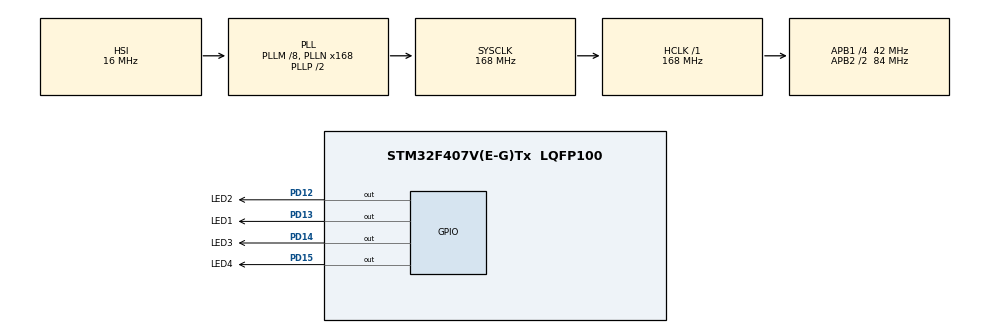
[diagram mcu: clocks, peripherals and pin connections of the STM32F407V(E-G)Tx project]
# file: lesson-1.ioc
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FREERTOS.INCLUDE_eTaskGetState=1
FREERTOS.Mutexes01=mutex01,Dynamic,NULL
FREERTOS.Tasks01=defaultTask,-3,128,StartDefaultTask,Default,NULL,Dynamic,NULL,NULL;Led01Task,2,128,vLed01Task,Default,NULL,Dynamic,NULL,NULL;Led02Task,0,128,vLed02Task,Default,NULL,Dynamic,NULL,NULL;Led03Task,-2,128,vLed03Task,Default,NULL,Dynamic,NULL,NULL
Mcu.Family=STM32F4
Mcu.Name=STM32F407V(E-G)Tx
Mcu.Package=LQFP100
NVIC.PriorityGroup=NVIC_PRIORITYGROUP_4
NVIC.RCC_IRQn=true\:5\:0\:false\:false\:true\:true\:true\:false
NVIC.TIM2_IRQn=true\:0\:0\:false\:false\:true\:false\:false\:true
NVIC.TimeBase=TIM2_IRQn
NVIC.TimeBaseIP=TIM2
PD12.GPIO_Label=LED2
PD12.Signal=GPIO_Output
PD13.GPIO_Label=LED1
PD13.Signal=GPIO_Output
PD14.GPIO_Label=LED3
PD14.Signal=GPIO_Output
PD15.GPIO_Label=LED4
PD15.Signal=GPIO_Output
ProjectManager.HeapSize=0x200
ProjectManager.StackSize=0x400
ProjectManager.TargetToolchain=TrueSTUDIO
RCC.48MHZClocksFreq_Value=48000000
RCC.AHBFreq_Value=168000000
RCC.APB1CLKDivider=RCC_HCLK_DIV4
RCC.APB1Freq_Value=42000000
RCC.APB1TimFreq_Value=84000000
RCC.APB2CLKDivider=RCC_HCLK_DIV2
RCC.APB2Freq_Value=84000000
RCC.APB2TimFreq_Value=168000000
RCC.CortexFreq_Value=168000000
RCC.HCLKFreq_Value=168000000
RCC.HSE_VALUE=8000000
RCC.HSI_VALUE=16000000
RCC.LSE_VALUE=32768
RCC.PLLM=8
RCC.PLLN=168
RCC.PLLQ=7
RCC.SYSCLKFreq_VALUE=168000000
RCC.SYSCLKSource=RCC_SYSCLKSOURCE_PLLCLK
RCC.VCOOutputFreq_Value=336000000
VP_FREERTOS_VS_CMSIS_V1.Mode=CMSIS_V1
VP_SYS_VS_tim2.Mode=TIM2
board=STM32F4DISCOVERY

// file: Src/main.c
/* USER CODE BEGIN Header */
/**
  ******************************************************************************
  * @file           : main.c
  * @brief          : Main program body
  ******************************************************************************
  * @attention
  *
  * <h2><center>&copy; Copyright (c) 2019 STMicroelectronics.
  * All rights reserved.</center></h2>
  *
  * This software component is licensed by ST under Ultimate Liberty license
  * SLA0044, the "License"; You may not use this file except in compliance with
  * the License. You may obtain a copy of the License at:
  *                             www.st.com/SLA0044
  *
  ******************************************************************************
  */
/* USER CODE END Header */

#include "main.h"
#include "cmsis_os.h"

osThreadId defaultTaskHandle;
osThreadId Led01TaskHandle;
osThreadId Led02TaskHandle;
osThreadId Led03TaskHandle;
osMutexId mutex01Handle;

int HPC, MPC, LPC = 0;

void SystemClock_Config(void);
static void MX_GPIO_Init(void);
void StartDefaultTask(void const * argument);
void vLed01Task(void const * argument);
void vLed02Task(void const * argument);
void vLed03Task(void const * argument);

int main(void)
{

  /* MCU Configuration--------------------------------------------------------*/

  /* Reset of all peripherals, Initializes the Flash interface and the Systick. */
  HAL_Init();

  /* Configure the system clock */
  SystemClock_Config();

  /* Initialize all configured peripherals */
  MX_GPIO_Init();

  /* Create the mutex(es) */
  /* definition and creation of mutex01 */
  osMutexDef(mutex01);
  mutex01Handle = osMutexCreate(osMutex(mutex01));

  /* Create the thread(s) */
  /* definition and creation of defaultTask */
  osThreadDef(defaultTask, StartDefaultTask, osPriorityIdle, 0, 128);
  defaultTaskHandle = osThreadCreate(osThread(defaultTask), NULL);

  /* definition and creation of Led01Task */
  osThreadDef(Led01Task, vLed01Task, osPriorityHigh, 0, 128);
  Led01TaskHandle = osThreadCreate(osThread(Led01Task), NULL);

  /* definition and creation of Led02Task */
  osThreadDef(Led02Task, vLed02Task, osPriorityNormal, 0, 128);
  Led02TaskHandle = osThreadCreate(osThread(Led02Task), NULL);

  /* definition and creation of Led03Task */
  osThreadDef(Led03Task, vLed03Task, osPriorityLow, 0, 128);
  Led03TaskHandle = osThreadCreate(osThread(Led03Task), NULL);

  /* Start scheduler */
  osKernelStart();

  /* We should never get here as control is now taken by the scheduler */

  /* Infinite loop */
  while (1)
  {

  }
}

void SystemClock_Config(void)
{
  RCC_OscInitTypeDef RCC_OscInitStruct = {0};
  RCC_ClkInitTypeDef RCC_ClkInitStruct = {0};

  /** Configure the main internal regulator output voltage
  */
  __HAL_RCC_PWR_CLK_ENABLE();
  __HAL_PWR_VOLTAGESCALING_CONFIG(PWR_REGULATOR_VOLTAGE_SCALE1);
  /** Initializes the CPU, AHB and APB busses clocks
  */
  RCC_OscInitStruct.OscillatorType = RCC_OSCILLATORTYPE_HSI;
  RCC_OscInitStruct.HSIState = RCC_HSI_ON;
  RCC_OscInitStruct.HSICalibrationValue = RCC_HSICALIBRATION_DEFAULT;
  RCC_OscInitStruct.PLL.PLLState = RCC_PLL_ON;
  RCC_OscInitStruct.PLL.PLLSource = RCC_PLLSOURCE_HSI;
  RCC_OscInitStruct.PLL.PLLM = 8;
  RCC_OscInitStruct.PLL.PLLN = 168;
  RCC_OscInitStruct.PLL.PLLP = RCC_PLLP_DIV2;
  RCC_OscInitStruct.PLL.PLLQ = 7;
  if (HAL_RCC_OscConfig(&RCC_OscInitStruct) != HAL_OK)
  {
    Error_Handler();
  }
  /** Initializes the CPU, AHB and APB busses clocks
  */
  RCC_ClkInitStruct.ClockType = RCC_CLOCKTYPE_HCLK|RCC_CLOCKTYPE_SYSCLK
                              |RCC_CLOCKTYPE_PCLK1|RCC_CLOCKTYPE_PCLK2;
  RCC_ClkInitStruct.SYSCLKSource = RCC_SYSCLKSOURCE_PLLCLK;
  RCC_ClkInitStruct.AHBCLKDivider = RCC_SYSCLK_DIV1;
  RCC_ClkInitStruct.APB1CLKDivider = RCC_HCLK_DIV4;
  RCC_ClkInitStruct.APB2CLKDivider = RCC_HCLK_DIV2;

  if (HAL_RCC_ClockConfig(&RCC_ClkInitStruct, FLASH_LATENCY_5) != HAL_OK)
  {
    Error_Handler();
  }
}

static void MX_GPIO_Init(void)
{
  GPIO_InitTypeDef GPIO_InitStruct = {0};

  /* GPIO Ports Clock Enable */
  __HAL_RCC_GPIOD_CLK_ENABLE();

  /*Configure GPIO pin Output Level */
  HAL_GPIO_WritePin(GPIOD, LED2_Pin|LED1_Pin|LED3_Pin|LED4_Pin, GPIO_PIN_RESET);

  /*Configure GPIO pins : LED2_Pin LED1_Pin LED3_Pin LED4_Pin */
  GPIO_InitStruct.Pin = LED2_Pin|LED1_Pin|LED3_Pin|LED4_Pin;
  GPIO_InitStruct.Mode = GPIO_MODE_OUTPUT_PP;
  GPIO_InitStruct.Pull = GPIO_NOPULL;
  GPIO_InitStruct.Speed = GPIO_SPEED_FREQ_LOW;
  HAL_GPIO_Init(GPIOD, &GPIO_InitStruct);

}

void StartDefaultTask(void const * argument)
{

  /* USER CODE BEGIN 5 */
  /* Infinite loop */
  for(;;)
  {
	  osDelay(10);
  }
  /* USER CODE END 5 */
}

void vLed01Task(void const * argument)
{
  /* USER CODE BEGIN vLed01Task */
  /* Infinite loop */
  for(;;)
  {
	  //osThreadResume(Led02TaskHandle);
	  //osThreadResume(Led03TaskHandle);
	  if(osMutexWait(mutex01Handle, 2) != osOK)
	  {
		  HAL_GPIO_TogglePin(GPIOD, LED1_Pin);
	  }

	  osDelay(20);

	  if(osMutexRelease(mutex01Handle) != osOK)
	  {
		  HAL_GPIO_TogglePin(GPIOD,LED1_Pin);
	  }

	  HPC++;
	  HAL_GPIO_TogglePin(GPIOD, LED2_Pin);

	  osThreadSuspend(NULL);
  }
  /* USER CODE END vLed01Task */
}

void vLed02Task(void const * argument)
{
  /* USER CODE BEGIN vLed02Task */
  /* Infinite loop */
  for(;;)
  {
	  if (osMutexWait(mutex01Handle, 5000) == osOK)
	  {
		  if (osThreadGetState(Led01TaskHandle) != osThreadSuspended)
		  {
			  HAL_GPIO_TogglePin(GPIOD, LED1_Pin);
		  }
		  else
		  {
			  if (osMutexRelease(mutex01Handle) != osOK)
			  {
				  HAL_GPIO_TogglePin(GPIOD, LED1_Pin);
			  }

			  MPC++;
			  HAL_GPIO_TogglePin(GPIOD, LED3_Pin);
			  osThreadSuspend(NULL);
		  }
	  }
	  else
	  {
		  HAL_GPIO_TogglePin(GPIOD, LED1_Pin);
	  }
  }
  /* USER CODE END vLed02Task */
}

void vLed03Task(void const * argument)
{
  /* USER CODE BEGIN vLed03Task */
  /* Infinite loop */
  for(;;)
  {
    if (osMutexWait(mutex01Handle, 0) == osOK)
    {
    	if((osThreadGetState(Led01TaskHandle) != osThreadSuspended) || (osThreadGetState(Led02TaskHandle) != osThreadSuspended))
    	{
    		HAL_GPIO_TogglePin(GPIOD, LED1_Pin);
    	}
    	else
    	{
    		osThreadResume(Led01TaskHandle);
    		osThreadResume(Led02TaskHandle);

    		if (osMutexRelease(mutex01Handle) != osOK)
    		{
    			HAL_GPIO_TogglePin(GPIOD, LED1_Pin);
    		}

    		LPC++;
    		HAL_GPIO_TogglePin(GPIOD, LED4_Pin);
    		//osThreadSuspend(NULL);
    	}
    }
  }
  /* USER CODE END vLed03Task */
}

void HAL_TIM_PeriodElapsedCallback(TIM_HandleTypeDef *htim)
{
  if (htim->Instance == TIM2) {
    HAL_IncTick();
  }
}

void Error_Handler(void)
{
}

/************************ (C) COPYRIGHT STMicroelectronics *****END OF FILE****/
